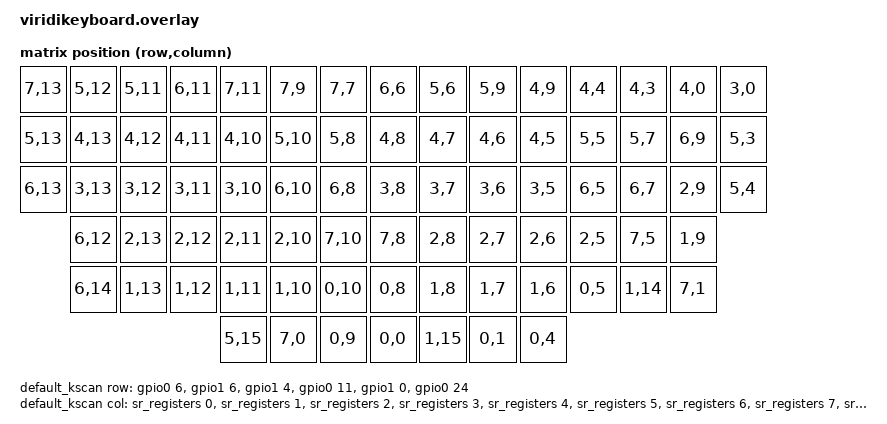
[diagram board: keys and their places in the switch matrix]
/ {
    chosen {
        zmk,kscan = &default_kscan;  
        zmk,matrix_transform = &default_transform;         
    };

    default_kscan: kscan {
        compatible = "zmk,kscan-gpio-matrix";
        label = "default_kscan";
        diode-direction = "col2row";

        row-gpios = 
            <&gpio0 6 (GPIO_ACTIVE_HIGH | GPIO_PULL_DOWN)>,
            <&gpio1 6 (GPIO_ACTIVE_HIGH | GPIO_PULL_DOWN)>,
            <&gpio1 4 (GPIO_ACTIVE_HIGH | GPIO_PULL_DOWN)>,
            <&gpio0 11 (GPIO_ACTIVE_HIGH | GPIO_PULL_DOWN)>,
            <&gpio1 0 (GPIO_ACTIVE_HIGH | GPIO_PULL_DOWN)>,
            <&gpio0 24 (GPIO_ACTIVE_HIGH | GPIO_PULL_DOWN)>;

        col-gpios =
            <&sr_registers 0 GPIO_ACTIVE_HIGH>,
            <&sr_registers 1 GPIO_ACTIVE_HIGH>,
            <&sr_registers 2 GPIO_ACTIVE_HIGH>,
            <&sr_registers 3 GPIO_ACTIVE_HIGH>,
            <&sr_registers 4 GPIO_ACTIVE_HIGH>,
            <&sr_registers 5 GPIO_ACTIVE_HIGH>,
            <&sr_registers 6 GPIO_ACTIVE_HIGH>,
            <&sr_registers 7 GPIO_ACTIVE_HIGH>,
            <&sr_registers 8 GPIO_ACTIVE_HIGH>,
            <&sr_registers 9 GPIO_ACTIVE_HIGH>,
            <&sr_registers 10 GPIO_ACTIVE_HIGH>,
            <&sr_registers 11 GPIO_ACTIVE_HIGH>,
            <&sr_registers 12 GPIO_ACTIVE_HIGH>,
            <&sr_registers 13 GPIO_ACTIVE_HIGH>;
    };

    sr_registers: shift_registers {
        compatible = "zmk,gpio-595";
        label = "74HC595 GPIO";
        status = "okay";

        // Линии управления
        srclk-gpio = <&gpio0 20 GPIO_ACTIVE_HIGH>;  // Clock
        rclk-gpio  = <&gpio0 17 GPIO_ACTIVE_HIGH>;  // Latch
        ser-gpio   = <&gpio0 22 GPIO_ACTIVE_HIGH>;  // Data

        ngpios = <16>;      // Количество выходов (по 2 регистра на 16 колонок)
    };

    default_transform: keymap_transform_0 {
        compatible = "zmk,matrix-transform";
        columns = <14>;
        rows = <6>;
        map = <
            RC(7,13) RC(5,12) RC(5,11) RC(6,11) RC(7,11) RC(7,9) RC(7,7) RC(6,6) RC(5,6) RC(5,9) RC(4,9) RC(4,4) RC(4,3) RC(4,0) RC(3,0)
            RC(5,13) RC(4,13) RC(4,12) RC(4,11) RC(4,10) RC(5,10) RC(5,8) RC(4,8) RC(4,7) RC(4,6) RC(4,5) RC(5,5) RC(5,7) RC(6,9) RC(5,3)
            RC(6,13) RC(3,13) RC(3,12) RC(3,11) RC(3,10) RC(6,10) RC(6,8) RC(3,8) RC(3,7) RC(3,6) RC(3,5) RC(6,5) RC(6,7) RC(2,9) RC(5,4)
            RC(6,12) RC(2,13) RC(2,12) RC(2,11) RC(2,10) RC(7,10) RC(7,8) RC(2,8) RC(2,7) RC(2,6) RC(2,5) RC(7,5) RC(1,9)
            RC(6,14) RC(1,13) RC(1,12) RC(1,11) RC(1,10) RC(0,10) RC(0,8) RC(1,8) RC(1,7) RC(1,6) RC(0,5) RC(1,14) RC(7,1)
            RC(5,15) RC(7,0) RC(0,9) RC(0,0) RC(1,15) RC(0,1) RC(0,4)
        >;
    };
};
